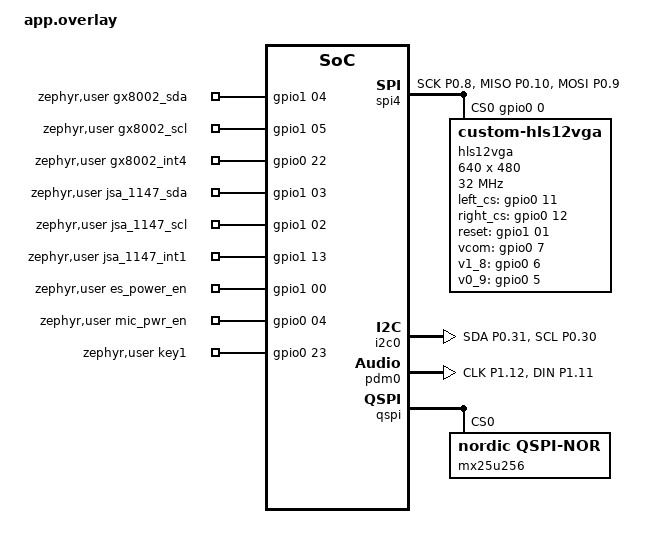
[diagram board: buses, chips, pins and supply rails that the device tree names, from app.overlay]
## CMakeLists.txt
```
#
# Copyright (c) 2018 Nordic Semiconductor
#
# SPDX-License-Identifier: LicenseRef-Nordic-5-Clause
#
cmake_minimum_required(VERSION 3.20.0)

list(APPEND EXTRA_ZEPHYR_MODULES
  ${CMAKE_CURRENT_SOURCE_DIR}/../custom_driver_module)

find_package(Zephyr REQUIRED HINTS $ENV{ZEPHYR_BASE})
project(k901_nrf5340)


# set(SHIELD npm1300_ek)
set(LVGL_DIR ${ZEPHYR_LVGL_MODULE_DIR})
FILE(GLOB app_sources src/*.c)
target_include_directories(app PRIVATE ${CMAKE_CURRENT_SOURCE_DIR}/src/.)

target_include_directories(app PRIVATE ${LVGL_DIR}/demos/)

list(APPEND CMAKE_MODULE_PATH ${ZEPHYR_BASE}/modules/nanopb)
include(nanopb)

# zephyr_library()
# zephyr_include_directories(${CMAKE_CURRENT_BINARY_DIR})
# zephyr_nanopb_sources(${ZEPHYR_CURRENT_LIBRARY} mentraos_ble.proto)
zephyr_nanopb_sources(app ${CMAKE_CURRENT_SOURCE_DIR}/mentraos_ble.proto)

# NORDIC SDK APP START
target_sources(app PRIVATE src/main.c)
add_subdirectory(src/BspLog)
add_subdirectory(src/xyzn_driver/bsp)
add_subdirectory(src/xyzn_driver/bspal)
add_subdirectory(src/xyzn_app)
add_subdirectory(src/xyzn_app/protocol_ble)
add_subdirectory(src/xyzn_components/xyzn_ble)
add_subdirectory(src/xyzn_components/xyzn_util)
add_subdirectory(src/xyzn_components/xyzn_sysport)
add_subdirectory(src/xyzn_components/xyzn_lvgl_display)
add_subdirectory(src/xyzn_components/xyzn_battery)
add_subdirectory(src/xyzn_components/xyzn_pdm)
# add_subdirectory(src/xyzn_components/xyzn_proto)

target_sources_ifdef(CONFIG_LV_USE_DEMO_BENCHMARK app PRIVATE
    ${LVGL_DIR}/demos/benchmark/assets/img_benchmark_avatar.c
    ${LVGL_DIR}/demos/benchmark/assets/img_benchmark_lvgl_logo_argb.c
    ${LVGL_DIR}/demos/benchmark/assets/img_benchmark_lvgl_logo_rgb.c
    ${LVGL_DIR}/demos/benchmark/assets/lv_font_benchmark_montserrat_12_compr_az.c.c
    ${LVGL_DIR}/demos/benchmark/assets/lv_font_benchmark_montserrat_16_compr_az.c.c
    ${LVGL_DIR}/demos/benchmark/assets/lv_font_benchmark_montserrat_28_compr_az.c.c
    ${LVGL_DIR}/demos/benchmark/lv_demo_benchmark.c
)

target_sources_ifdef(CONFIG_LV_USE_DEMO_WIDGETS app PRIVATE
    ${LVGL_DIR}/demos/widgets/assets/img_clothes.c
    ${LVGL_DIR}/demos/widgets/assets/img_demo_widgets_avatar.c
    ${LVGL_DIR}/demos/widgets/assets/img_demo_widgets_needle.c
    ${LVGL_DIR}/demos/widgets/assets/img_lvgl_logo.c
    ${LVGL_DIR}/demos/widgets/lv_demo_widgets.c
)

zephyr_library_include_directories(.)

# NORDIC SDK APP END
```

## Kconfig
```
#
# Copyright (c) 2018 Nordic Semiconductor
#
# SPDX-License-Identifier: LicenseRef-Nordic-5-Clause
#

source "Kconfig.zephyr"

menu "Nordic UART BLE GATT service sample"

config BT_NUS_THREAD_STACK_SIZE
	int "Thread stack size"
	default 1024
	help
	  Stack size used in each of the two threads

config BT_NUS_UART_BUFFER_SIZE
	int "UART payload buffer element size"
	default 40
	help
	  Size of the payload buffer in each RX and TX FIFO element

config BT_NUS_SECURITY_ENABLED
	bool "Enable security"
	default y
	select BT_SMP
	help
	  "Enable BLE security for the UART service"

config BT_NUS_UART_RX_WAIT_TIME
	int "Timeout for UART RX complete event"
	default 50000
	help
	  Wait for RX complete event time in microseconds

config SETTINGS
	default y

config ZMS
	default y if (SOC_FLASH_NRF_RRAM || SOC_FLASH_NRF_MRAM)

config NVS
	default y if !(SOC_FLASH_NRF_RRAM || SOC_FLASH_NRF_MRAM)


config LV_Z_DEMO_BENCHMARK
	bool "LVGL benchmark demo"
	select LV_USE_DEMO_BENCHMARK
	select LV_USE_DEMO_WIDGETS
	help
	  Build benchmarking demo application.

endmenu
```

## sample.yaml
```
sample:
  description: Bluetooth Low Energy UART service sample
  name: Bluetooth LE UART service
tests:
  sample.bluetooth.peripheral_uart:
    sysbuild: true
    build_only: true
    platform_allow:
      - nrf52dk/nrf52832
      - nrf52833dk/nrf52833
      - nrf52840dk/nrf52840
      - nrf5340dk/nrf5340/cpuapp
      - nrf5340dk/nrf5340/cpuapp/ns
      - thingy53/nrf5340/cpuapp
      - thingy53/nrf5340/cpuapp/ns
      - nrf21540dk/nrf52840
      - nrf54l15dk/nrf54l05/cpuapp
      - nrf54l15dk/nrf54l10/cpuapp
      - nrf54l15dk/nrf54l15/cpuapp
      - nrf54h20dk/nrf54h20/cpuapp
      - nrf54h20dk/nrf54h20/cpurad
    integration_platforms:
      - nrf52dk/nrf52832
      - nrf52833dk/nrf52833
      - nrf52840dk/nrf52840
      - nrf5340dk/nrf5340/cpuapp
      - nrf5340dk/nrf5340/cpuapp/ns
      - thingy53/nrf5340/cpuapp
      - thingy53/nrf5340/cpuapp/ns
      - nrf21540dk/nrf52840
      - nrf54l15dk/nrf54l05/cpuapp
      - nrf54l15dk/nrf54l10/cpuapp
      - nrf54l15dk/nrf54l15/cpuapp
      - nrf54h20dk/nrf54h20/cpuapp
      - nrf54h20dk/nrf54h20/cpurad
    tags:
      - bluetooth
      - ci_build
      - sysbuild
  sample.bluetooth.peripheral_uart_cdc:
    sysbuild: true
    build_only: true
    extra_args:
      - OVERLAY_CONFIG=prj_cdc.conf
      - DTC_OVERLAY_FILE="usb.overlay"
    integration_platforms:
      - nrf52840dk/nrf52840
      - nrf52833dk/nrf52833
    platform_allow:
      - nrf52840dk/nrf52840
      - nrf52833dk/nrf52833
    tags:
      - bluetooth
      - ci_build
      - sysbuild
  sample.bluetooth.peripheral_uart_minimal:
    sysbuild: true
    build_only: true
    extra_args: FILE_SUFFIX=minimal
    integration_platforms:
      - nrf52833dk/nrf52820
    platform_allow:
      - nrf52833dk/nrf52820
    tags:
      - bluetooth
      - ci_build
      - sysbuild
  sample.bluetooth.peripheral_uart_ble_rpc:
    sysbuild: true
    build_only: true
    extra_args:
      - SNIPPET=nordic-bt-rpc
      - FILE_SUFFIX=bt_rpc
    integration_platforms:
      - nrf5340dk/nrf5340/cpuapp
      - nrf54h20dk/nrf54h20/cpuapp
    platform_allow:
      - nrf5340dk/nrf5340/cpuapp
      - nrf54h20dk/nrf54h20/cpuapp
    tags:
      - bluetooth
      - ci_build
      - sysbuild
  sample.bluetooth.peripheral_uart.security_disabled:
    sysbuild: true
    build_only: true
    platform_allow:
      - nrf52dk/nrf52832
      - nrf52833dk/nrf52833
      - nrf52840dk/nrf52840
      - nrf5340dk/nrf5340/cpuapp
      - nrf5340dk/nrf5340/cpuapp/ns
      - thingy53/nrf5340/cpuapp
      - thingy53/nrf5340/cpuapp/ns
      - nrf21540dk/nrf52840
    integration_platforms:
      - nrf52840dk/nrf52840
    tags:
      - bluetooth
      - ci_build
      - sysbuild
    extra_configs:
      - CONFIG_BT_NUS_SECURITY_ENABLED=n
```

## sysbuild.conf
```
SB_CONFIG_BOOTLOADER_MCUBOOT=y

SB_CONFIG_MCUBOOT_USE_ALL_AVAILABLE_RAM=y

# Configure project to use external flash for DFU
SB_CONFIG_PM_EXTERNAL_FLASH_MCUBOOT_SECONDARY=y


# Set up multiple partitions
# SB_CONFIG_MCUBOOT_UPDATEABLE_IMAGES=2
SB_CONFIG_MCUBOOT_UPDATEABLE_IMAGES=1
# Add b0n image
# SB_CONFIG_SECURE_BOOT_NETCORE=y

# Add support to netcore for DFU
# SB_CONFIG_NETCORE_APP_UPDATE=y

# Add support to mcuboot for updating
# two cores simultaneously
# SB_CONFIG_MCUBOOT_NRF53_MULTI_IMAGE_UPDATE=y


# Simultaneous FOTA does not support rollback
SB_CONFIG_MCUBOOT_MODE_OVERWRITE_ONLY=y

SB_CONFIG_BOOT_SIGNATURE_TYPE_RSA=y

SB_CONFIG_BOOT_SIGNATURE_KEY_FILE="${APP_DIR}/sysbuild/private.pem"
# SB_CONFIG_SECURE_BOOT_SIGNING_KEY_FILE="/sysbuild/mcuboot/private.pem"
```

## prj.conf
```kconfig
# Enable the UART driver
CONFIG_UART_ASYNC_API=n
CONFIG_NRFX_UARTE0=n
CONFIG_SERIAL=n # 开启/关闭串口


# 设置log延时模式
CONFIG_LOG_MODE_DEFERRED=y
#设置log同步模式
CONFIG_LOG_MODE_IMMEDIATE=n
#设置log最小模式
CONFIG_LOG_MODE_MINIMAL=n
#允许丢弃旧的消息
CONFIG_LOG_MODE_OVERFLOW=n
#设置log缓存大小
CONFIG_LOG_BUFFER_SIZE=1024
# # 设置log打印级别
# CONFIG_LOG_DEFAULT_LEVEL=4
# #设置INFO级别log颜色为绿色
# CONFIG_LOG_INFO_COLOR_GREEN=y
# # #设置log打印错误为红色警告为黄色
# CONFIG_LOG_BACKEND_SHOW_COLOR=y
# 开启log打印模块
CONFIG_CONSOLE=y

# Config logger
CONFIG_LOG=y
# 开启rtt log打印
CONFIG_USE_SEGGER_RTT=y 
# 开启rtt log打印缓冲
CONFIG_LOG_BACKEND_RTT=y 
CONFIG_LOG_BACKEND_UART=n
# 开启log打印模块，接管printk打印
CONFIG_LOG_PRINTK=y         
CONFIG_ASSERT=y
 # 开启/ 关闭log rtt打印模块
CONFIG_RTT_CONSOLE=y   
# 开启/关闭log串口打印模块
CONFIG_UART_CONSOLE=n   

CONFIG_LOG_MODE_IMMEDIATE=y 
# 配置rtt打印缓存大小
CONFIG_SEGGER_RTT_BUFFER_SIZE_UP=4096
# 浮点打印开关，占用code 1K左右
CONFIG_CBPRINTF_FP_SUPPORT=y

# 堆内存池大小（字节）
CONFIG_HEAP_MEM_POOL_SIZE=40960

# CONFIG_BT_GATT_DYNAMIC_DB=y
CONFIG_BT=y
CONFIG_BT_DEVICE_APPEARANCE=448
CONFIG_BT_PERIPHERAL=y
# CONFIG_BT_DEVICE_NAME="Nordic_UART_Service_test"
CONFIG_BT_DEVICE_NAME_DYNAMIC=y
CONFIG_BT_MAX_CONN=1
CONFIG_BT_MAX_PAIRED=1
#设置 Bluetooth LE 接收线程的栈空间
CONFIG_BT_RX_STACK_SIZE=2048
#设置 Bluetooth LE 发送线程的栈空间
CONFIG_BT_HCI_TX_STACK_SIZE=1024
#多协议服务层（MPSL）相关线程的栈空间
CONFIG_MPSL_WORK_STACK_SIZE=1024

CONFIG_BT_L2CAP_TX_MTU=517
CONFIG_BT_BUF_ACL_TX_SIZE=521
CONFIG_BT_BUF_ACL_RX_SIZE=521
CONFIG_BT_BUF_ACL_TX_COUNT=7
# CONFIG_BT_CTLR_DATA_LENGTH_MAX=251

# Enable the NUS service
# CONFIG_BT_NUS=y
CONFIG_BT_USER_PHY_UPDATE=y
CONFIG_BT_USER_DATA_LEN_UPDATE=y

CONFIG_NRF_SECURITY=y
CONFIG_MBEDTLS_PSA_CRYPTO_C=y
CONFIG_PSA_WANT_ALG_CMAC=y
CONFIG_PSA_WANT_KEY_TYPE_AES=y
CONFIG_PSA_WANT_AES_KEY_SIZE_128=y
CONFIG_PSA_WANT_ALG_ECDSA=y
CONFIG_PSA_WANT_KEY_TYPE_ECC_KEY_PAIR_IMPORT=y
# Enable bonding
# CONFIG_BT_SETTINGS=y
CONFIG_FLASH=y
CONFIG_FLASH_PAGE_LAYOUT=y
CONFIG_FLASH_MAP=y
CONFIG_SETTINGS=n

CONFIG_SYSTEM_WORKQUEUE_STACK_SIZE=2048
# CONFIG_ISR_STACK_SIZE=4096
CONFIG_SPI=y

CONFIG_GPIO=y
# CONFIG_SOC_NRF53_CPUNET_ENABLE=y

CONFIG_MAIN_STACK_SIZE=4096
#配置main主任务优先级，空闲任务优先级为默认15，可抢占任务优先级为0~15（可配置宏：CONFIG_NUM_PREEMPT_PRIORITIES）
CONFIG_MAIN_THREAD_PRIORITY=14


CONFIG_LVGL=y
# # CONFIG_LV_Z_MEM_POOL_SIZE=49152
CONFIG_LV_Z_MEM_POOL_SIZE=102400
# CONFIG_LV_Z_SHELL=y
CONFIG_LV_USE_MONKEY=y
CONFIG_LV_COLOR_DEPTH_1=y

CONFIG_INPUT=y

CONFIG_LV_FONT_MONTSERRAT_12=y
CONFIG_LV_FONT_MONTSERRAT_14=y
CONFIG_LV_FONT_MONTSERRAT_16=y
CONFIG_LV_FONT_MONTSERRAT_18=y
CONFIG_LV_FONT_MONTSERRAT_24=y
CONFIG_LV_FONT_MONTSERRAT_30=y
CONFIG_LV_FONT_MONTSERRAT_48=y

CONFIG_LV_USE_FONT_COMPRESSED=y
CONFIG_DISPLAY_LOG_LEVEL_ERR=y
CONFIG_LV_USE_LOG=y
# CONFIG_LV_Z_LOG_LEVEL=2
CONFIG_LV_Z_DEMO_BENCHMARK=y
# CONFIG_LV_Z_AUTO_INIT=n
CONFIG_LV_Z_DOUBLE_VDB=y
#修改了这里的值，注意驱动层的缓冲buff长度 ，不要超过20%
CONFIG_LV_Z_VDB_SIZE=10
CONFIG_LV_Z_VDB_CUSTOM_SECTION=n

# CONFIG_LV_USE_SYSMON=y
# CONFIG_LV_USE_PERF_MONITOR=y

CONFIG_DISPLAY=y
CONFIG_CUSTOM_HLS12VGA=y

# CONFIG_STACK_CANARIES=y
# CONFIG_STACK_USAGE=y

# Enable FOTA over Bluetooth LE
CONFIG_NCS_SAMPLE_MCUMGR_BT_OTA_DFU=y


CONFIG_MCUMGR_GRP_ZBASIC=y
CONFIG_MCUMGR_GRP_ZBASIC_STORAGE_ERASE=y
# CONFIG_PM_OVERRIDE_EXTERNAL_DRIVER_CHECK=y


CONFIG_CJSON_LIB=y
CONFIG_NEWLIB_LIBC=y
CONFIG_NEWLIB_LIBC_FLOAT_PRINTF=y
CONFIG_NEWLIB_LIBC_NANO=n



CONFIG_RING_BUFFER=y

CONFIG_FILE_SYSTEM=y
CONFIG_FILE_SYSTEM_LITTLEFS=y
# CONFIG_FS_LOG_LEVEL=3
#LittleFS 的缓存大小（字节）
CONFIG_FS_LITTLEFS_CACHE_SIZE=1024
#LittleFS 块的擦写周期上限，用于磨损均衡
CONFIG_FS_LITTLEFS_BLOCK_CYCLES=512
#LittleFS 读操作的最小单位（字节）
CONFIG_FS_LITTLEFS_READ_SIZE=32
#LittleFS 写操作的最小单位（字节）
CONFIG_FS_LITTLEFS_PROG_SIZE=32
#LittleFS 查找窗口的大小（字节），用于查找文件时，在文件系统上查找的窗口大小
CONFIG_FS_LITTLEFS_LOOKAHEAD_SIZE=64


# 在系统配置中包括当前/电压调节器的驱动程序
CONFIG_REGULATOR=y
CONFIG_SENSOR=y
CONFIG_I2C=y
CONFIG_LED=y
CONFIG_NRF_FUEL_GAUGE=y
CONFIG_NRF_FUEL_GAUGE_VARIANT_SECONDARY_CELL=y
CONFIG_TFM_SECURE_UART=n
CONFIG_TFM_LOG_LEVEL_SILENCE=y

CONFIG_PM_DEVICE=y
CONFIG_NRFX_TWIM0=y
## thread monitor ##
CONFIG_THREAD_ANALYZER=y
CONFIG_THREAD_NAME=y




######test load##############
# CONFIG_ZTEST=y
CONFIG_CPU_LOAD=y
CONFIG_NRFX_TIMER1=y
CONFIG_CPU_LOAD_USE_SHARED_DPPI_CHANNELS=y


#watchdog
CONFIG_WDT_LOG_LEVEL_DBG=n
CONFIG_WATCHDOG=y
CONFIG_WDT_DISABLE_AT_BOOT=n

CONFIG_CMSIS_DSP=y
CONFIG_SW_CODEC_LC3_T2_SOFTWARE=y
CONFIG_LC3_ENC_CHAN_MAX=2
CONFIG_LC3_DEC_CHAN_MAX=2

CONFIG_FPU=y
CONFIG_NRFX_PDM0=y
CONFIG_AUDIO=y
CONFIG_AUDIO_DMIC=y
CONFIG_AUDIO_DMIC_NRFX_PDM=y


CONFIG_NANOPB=y
```

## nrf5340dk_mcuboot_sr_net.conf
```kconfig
#
# Copyright (c) 2022 Nordic Semiconductor
#
# SPDX-License-Identifier: LicenseRef-Nordic-5-Clause
#

CONFIG_MAIN_STACK_SIZE=10240
# Flash
CONFIG_FLASH=y

# MCUBoot serial
CONFIG_MCUBOOT_SERIAL=y
CONFIG_MCUBOOT_SERIAL_DIRECT_IMAGE_UPLOAD=y

# Decrease memory footprint
CONFIG_CBPRINTF_NANO=y
CONFIG_TIMESLICING=n
CONFIG_BOOT_BANNER=n
CONFIG_CONSOLE=n
CONFIG_CONSOLE_HANDLER=n
CONFIG_UART_CONSOLE=n
CONFIG_RTT_CONSOLE=n
CONFIG_USE_SEGGER_RTT=n
CONFIG_LOG=n
CONFIG_RESET_ON_FATAL_ERROR=n

# The following configurations are required to support serial recovery of the
# network image
CONFIG_PCD_APP=y

CONFIG_FLASH_SIMULATOR=y
CONFIG_FLASH_SIMULATOR_DOUBLE_WRITES=y
CONFIG_FLASH_SIMULATOR_STATS=n

CONFIG_BOOT_IMAGE_ACCESS_HOOKS=y
CONFIG_NRF53_RECOVERY_NETWORK_CORE=y

CONFIG_MCUBOOT_INDICATION_LED=y
```

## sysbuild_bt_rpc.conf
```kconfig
#
# Copyright (c) 2024 Nordic Semiconductor
#
# SPDX-License-Identifier: LicenseRef-Nordic-5-Clause
#

SB_CONFIG_NETCORE_IPC_RADIO_BT_RPC=y
SB_CONFIG_NETCORE_IPC_RADIO_BT_HCI_IPC=n
```

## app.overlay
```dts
//   @Author: XK
//   @Date: 2025-07-02 09: 48: 47
//   @LastEditTime: 2025-07-15 17: 49: 51
//   @FilePath: app.overlay
//   @Description:

//   Copyright (c) XingYiZhiNeng 2025 , All Rights Reserved.


/ {
	chosen {
		zephyr,display = &hls12vga;
		nordic,pm-ext-flash = &mx25u256;
		// nordic,pm-ext-flash = &mx25r64;
	};
	zephyr,user {
		// ict_15318_sda-gpios = <&gpio1 14 GPIO_ACTIVE_HIGH>;
		// ict_15318_scl-gpios = <&gpio1 15 GPIO_ACTIVE_HIGH>;

		gx8002_sda-gpios = <&gpio1 04 GPIO_ACTIVE_HIGH>;
		gx8002_scl-gpios = <&gpio1 05 GPIO_ACTIVE_HIGH>;
		gx8002_int4-gpios = <&gpio0 22 GPIO_ACTIVE_HIGH>;

		jsa_1147_sda-gpios = <&gpio1 03 GPIO_ACTIVE_HIGH>;
		jsa_1147_scl-gpios = <&gpio1 02 GPIO_ACTIVE_HIGH>;
		jsa_1147_int1-gpios = <&gpio1 13 GPIO_ACTIVE_HIGH>;

		es_power_en-gpios = <&gpio1 00 GPIO_ACTIVE_HIGH>;
		mic_pwr_en-gpios = <&gpio0 04 GPIO_ACTIVE_HIGH>;

		key1-gpios = <&gpio0 23 GPIO_ACTIVE_HIGH>;

	};
	/delete-node/ aliases;
	aliases {
		myimu6 = &i2c0;
		myimu3 = &i2c2;
		// myvda = &i2c3;

		watchdog0 = &wdt0;
	};

};


&pinctrl {
	spi4_default: spi4_default {
		group1 {
			psels = <NRF_PSEL(SPIM_SCK, 0, 8)>,
			        <NRF_PSEL(SPIM_MISO, 0, 10)>,
			        <NRF_PSEL(SPIM_MOSI, 0, 9)>;
			nordic,drive-mode = <NRF_DRIVE_E0E1>;
		};
	};
	spi4_sleep: spi4_sleep {
		group1 {
			psels = <NRF_PSEL(SPIM_SCK, 0, 8)>,
			        <NRF_PSEL(SPIM_MISO, 0, 10)>,
			        <NRF_PSEL(SPIM_MOSI, 0, 9)>;
			low-power-enable;
		};
	};
	i2c0_default: i2c0_default {
		group1 {
			psels = <NRF_PSEL(TWIM_SDA, 0, 31)>,
					<NRF_PSEL(TWIM_SCL, 0, 30)>;
			bias-pull-up;
			nordic,drive-mode = <NRF_DRIVE_S0D1>;
		};
	};
	i2c0_sleep: i2c0_sleep {
		group1 {
			psels = <NRF_PSEL(TWIM_SDA, 0, 31)>,
					<NRF_PSEL(TWIM_SCL, 0, 30)>;
			low-power-enable;
		};
	};
	i2c2_default: i2c2_default {
		group1 {
			psels = <NRF_PSEL(TWIM_SDA, 1, 15)>,
					<NRF_PSEL(TWIM_SCL, 1, 14)>;
			bias-pull-up;
			nordic,drive-mode = <NRF_DRIVE_S0D1>;
		};
	};
	i2c2_sleep: i2c2_sleep {
		group1 {
			psels = <NRF_PSEL(TWIM_SDA, 1, 15)>,
					<NRF_PSEL(TWIM_SCL, 1, 14)>;
			low-power-enable;
		};
	};
	i2c3_default: i2c3_default {
		group1 {

			psels = <NRF_PSEL(TWIM_SDA, 1, 04)>,
					<NRF_PSEL(TWIM_SCL, 1, 05)>;
			bias-pull-up;
			nordic,drive-mode = <NRF_DRIVE_S0D1>;
		};
	};
	i2c3_sleep: i2c3_sleep {
		group1 {
			psels = <NRF_PSEL(TWIM_SDA, 1, 04)>,
					<NRF_PSEL(TWIM_SCL, 1, 05)>;
			low-power-enable;
		};
	};

	pdm0_default_alt: pdm0_default_alt {
	group1 {
		psels = <NRF_PSEL(PDM_CLK, 1, 12)>,
				<NRF_PSEL(PDM_DIN, 1, 11)>;

	};
	};
};
&spi4 {
	compatible = "nordic,nrf-spim";
	status = "okay";
	cs-gpios = <&gpio0 0 GPIO_ACTIVE_HIGH>;
	pinctrl-0 = <&spi4_default>;
	pinctrl-1 = <&spi4_sleep>;
	pinctrl-names = "default", "sleep";
	hls12vga: hls12vga@0 {
		compatible = "zephyr,custom-hls12vga";
		status = "okay";
		reg = <0>;
		spi-max-frequency = <32000000>;
		left_cs-gpios = <&gpio0 11 GPIO_ACTIVE_HIGH>;
		right_cs-gpios = <&gpio0 12 GPIO_ACTIVE_HIGH>;
		reset-gpios = <&gpio1 01 GPIO_ACTIVE_HIGH>;
		vcom-gpios = <&gpio0 7 GPIO_ACTIVE_HIGH>;
		v1_8-gpios = <&gpio0 6 GPIO_ACTIVE_HIGH>;
		v0_9-gpios = <&gpio0 5 GPIO_ACTIVE_HIGH>;

		width = <640>;           // 屏幕宽度 (像素)
		// height = <240>;          // 屏幕高度 (像素)
		height = <480>;          // 屏幕高度 (像素)
	};
};
&i2c0 {
	status = "okay";
	compatible = "nordic,nrf-twim";
	pinctrl-0 = <&i2c0_default>;
	pinctrl-1 = <&i2c0_sleep>;
	pinctrl-names = "default", "sleep";
};
&i2c2 {
	status = "disabled";
	compatible = "nordic,nrf-twim";
	pinctrl-0 = <&i2c2_default>;
	pinctrl-1 = <&i2c2_sleep>;
	pinctrl-names = "default", "sleep";
};
&i2c3 {
	status = "disabled";
	compatible = "nordic,nrf-twim";
	pinctrl-0 = <&i2c3_default>;
	pinctrl-1 = <&i2c3_sleep>;
	pinctrl-names = "default", "sleep";
};

dmic_dev: &pdm0 {
    status = "okay";
	compatible = "nordic,nrf-pdm";

	pinctrl-0 = <&pdm0_default_alt>;
	pinctrl-names = "default";
	// clock-source = "ACLK";
};
&gpio1 {
	sense-edge-mask = <0xffffffff>;
};
&gpio0 {
	sense-edge-mask = <0xffffffff>;
};
&nfct {
	status = "disabled";
};
&gpio_fwd {
	// status = "disabled";// 将管脚控制权保留在应用核
	/delete-node/ uart;// 将管脚控制权保留在应用核
};

&pwm0 {
	status = "disabled";
};
&ieee802154 {
	status = "disabled";
};
&uart0 {
	status = "disabled";
};

/delete-node/ &button0;
/delete-node/ &button1;
/delete-node/ &button2;
/delete-node/ &button3;
// /delete-node/ &buttons;
/delete-node/ &led0;
/delete-node/ &led1;
/delete-node/ &led2;
/delete-node/ &led3;
// /delete-node/ &leds;

// &qspi {
// 		status = "okay";
// 		pinctrl-0 = <&qspi_default>;
// 		pinctrl-1 = <&qspi_sleep>;
// 		pinctrl-names = "default", "sleep";
// 		mx25r64: mx25r6435f@0 {
// 					compatible = "nordic,qspi-nor";
// 					reg = <0>;
// 					/* MX25R64 supports only pp and pp4io */
// 					writeoc = "pp4io";
// 					/* MX25R64 supports all readoc options */
// 					readoc = "read4io";
// 					sck-frequency = <32000000>;
// 					jedec-id = [ c2 28 17  ];
// 					sfdp-bfp = [
// 						e5 20 f1 ff  ff ff ff 03  44 eb 08 6b  08 3b 04 bb
// 						ee ff ff ff  ff ff 00 ff  ff ff 00 ff  0c 20 0f 52
// 						10 d8 00 ff  23 72 f5 00  82 ed 04 cc  44 83 68 44
// 						30 b0 30 b0  f7 c4 d5 5c  00 be 29 ff  f0 d0 ff ff
// 					];
// 					size = <67108864>;
// 					has-dpd;
// 					t-enter-dpd = <10000>;
// 					t-exit-dpd = <35000>;
// 		};
// };

/delete-node/ &mx25r64;
&qspi {
	status = "okay";
	pinctrl-0 = <&qspi_default>;
	pinctrl-1 = <&qspi_sleep>;
	pinctrl-names = "default", "sleep";
	mx25u256: mx25u256@0 {
		compatible = "nordic,qspi-nor";
		reg = <0>;
		/* MX25U256 supports only pp and pp4io */
		writeoc = "pp4io";
		/* MX25U256 supports all readoc options */
		readoc = "read4io";
		sck-frequency = <32000000>;//最高 48Mhz
		address-size-32;
		enter-4byte-addr = <0xb7>;
		jedec-id = [ c2 25 39  ];
		sfdp-bfp = [ 
			e5 20 fb ff ff ff ff 0f 44 eb 08 6b 08 3b 04 bb 
			fe ff ff ff ff ff 00 ff ff ff 44 eb 0c 20 0f 52 
			10 d8 00 ff 25 52 dd 00 84 a5 04 e2 44 03 17 38 
			30 b0 30 b0 f7 bd d5 5c 4a 9e 29 ff f0 50 f9 85 ];
		size = <0x2000000>;// 32M
		has-dpd;
		t-enter-dpd = <10000>;
		t-exit-dpd = <35000>;
	};
};
```

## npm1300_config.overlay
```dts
/*
 * Copyright (C) 2023 Nordic Semiconductor ASA
 * SPDX-License-Identifier: Apache-2.0
 */

#include <dt-bindings/regulator/npm1300.h>
#include <zephyr/dt-bindings/input/input-event-codes.h>

&pinctrl {
    arduino_i2c_default: arduino_i2c_default {
        group1 {
            psels = <NRF_PSEL(TWIM_SCL, 0, 29)>,
                    <NRF_PSEL(TWIM_SDA, 1, 10)>;
            bias-pull-up;
        };
    };
    arduino_i2c_sleep: arduino_i2c_sleep {
        group1 {
            psels = <NRF_PSEL(TWIM_SCL, 0, 29)>,
                    <NRF_PSEL(TWIM_SDA, 1, 10)>;
            low-power-enable;
        };
    };
};

&arduino_i2c {
    status = "okay";
    pinctrl-0 = <&arduino_i2c_default>;
    pinctrl-1 = <&arduino_i2c_sleep>;
    pinctrl-names = "default", "sleep";
    clock-frequency = <I2C_BITRATE_STANDARD>;

    npm1300_ek_pmic: pmic@6b {
        compatible = "nordic,npm1300";
        reg = <0x6b>;
        // ship-to-active-time = <96>;
        // long-press-reset = "one_button";
        npm1300_ek_gpio: gpio-controller {
            compatible = "nordic,npm1300-gpio";
            gpio-controller;
            #gpio-cells = <2>;
            ngpios = <5>;
            // phandle = <6>;
        };
        npm1300_ek_regulators: regulators {
            compatible = "nordic,npm1300-regulator";

            npm1300_ek_buck1: BUCK1 {
                regulator-min-microvolt = <1000000>;
                regulator-max-microvolt = <3300000>;
                retention-microvolt = <1200000>;
            };
            npm1300_ek_buck2: BUCK2 {
                regulator-min-microvolt = <1000000>;
                regulator-max-microvolt = <3300000>;
                retention-microvolt = <1800000>;
            };

            npm1300_ek_ldo1: LDO1 {
                regulator-min-microvolt = <1000000>;
                regulator-max-microvolt = <3300000>;
                regulator-initial-mode = <NPM1300_LDSW_MODE_LDSW>;
                regulator-boot-on;
            };
            npm1300_ek_ldo2: LDO2 {
                regulator-min-microvolt = <1000000>;
                regulator-max-microvolt = <3300000>;
                regulator-initial-mode = <NPM1300_LDSW_MODE_LDSW>;
                regulator-boot-on;
            };

        };

        npm1300_ek_charger: charger {
            compatible = "nordic,npm1300-charger";
            term-microvolt = <4250000>;
            term-warm-microvolt = <3600000>;// 充电终止电压
            // term-current-percent = <10>;
            current-microamp = <800000>;// 限制充电电流(uA)
            // current-microamp = <150000>;// 限制充电电流(uA)
            // trickle-microvolt = <2900000>;
            dischg-limit-microamp = <200000>; // 限制放电电流(uA)
            // dischg-limit-microamp = <1000000>; // 限制放电电流(uA)
            vbus-limit-microamp = <500000>;
            thermistor-ohms = <10000>;
            thermistor-beta = <3380>;

            charging-enable;
            vbatlow-charge-enable;
        };


        npm1300_ek_leds: leds {
            compatible = "nordic,npm1300-led";
            nordic,led0-mode = "error";
            nordic,led1-mode = "charging";
            nordic,led2-mode = "host";
        };

    };
};
```

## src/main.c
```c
/*
 * @Author       : Cole
 * @Date         : 2025-07-25 11:26:39
 * @LastEditTime : 2025-07-30 16:45:53
 * @FilePath     : main.c
 * @Description  : 
 * 
 * Copyright (c) 2025 MentraOS Organization. All rights reserved.
 */


#include <uart_async_adapter.h>

#include <zephyr/types.h>
#include <zephyr/kernel.h>
#include <zephyr/drivers/uart.h>
#include <zephyr/usb/usb_device.h>

#include <zephyr/device.h>
#include <zephyr/devicetree.h>
#include <soc.h>

#include <zephyr/bluetooth/bluetooth.h>
#include <zephyr/bluetooth/gap.h>
#include <zephyr/bluetooth/uuid.h>
#include <zephyr/bluetooth/gatt.h>
#include <zephyr/bluetooth/hci.h>

// #include <bluetooth/services/nus.h>
#include <zephyr/settings/settings.h>

#include <stdio.h>
#include <string.h>
#include <zephyr/logging/log.h>
/******************************************* */
#include "nrfx_clock.h"
#include "bsp_log.h"
#include "xyzn_config.h"
#include "main.h"
#include "task_ble_receive.h"
#include "xyzn_ble_service.h"
#include "bsp_board_mcu.h"
#include "protocol_ble_send.h"
#include "protocol_ble_process.h"
#include "protocol_image_cache.h"
#include "xyzn_lvgl_display.h"
#include "task_process.h"
#include "task_interrupt.h"
#include "bspal_watchdog.h"
#include "task_lc3_codec.h"
#define TAG "MAIN"

static struct bt_conn *my_current_conn;

static uint16_t payload_mtu = 20;  // 默认MTU长度
static bool ble_connected = false; // 默认未连接
#define BLE_NAME_MAX_LEN 20
static uint8_t device_name[BLE_NAME_MAX_LEN] = "1234567890";

#define BT_GAP_PER_ADV_MS_TO_INTERVAL(ms) ((ms) * 1000 / 625)

static struct bt_le_adv_param g_adv_param;

#define BLE_AD_IDX_FLAGS 0
#define BLE_AD_IDX_NAME 1
#define BLE_AD_IDX_XY_TEST 2
static uint8_t xyzn_test_ad_data[11] = {0x4B, 0X39, 0X30, 0X30, 0X30, 0X30, 0X30, 0X30, 0X30, 0X30, 0X30};
static uint8_t xyzn_test_sd_data[11] = {0x22, 0XB8, 0X00, 0X08, 0XFF, 0X01, 0X30, 0X30, 0X30, 0X30, 0X30};
/******************************************* */

#define LOG_MODULE_NAME main
LOG_MODULE_REGISTER(LOG_MODULE_NAME);

static K_SEM_DEFINE(ble_init_ok, 0, 1);

static struct bt_conn *auth_conn;
static struct k_work adv_work;

static struct bt_data ad[] = {
	[BLE_AD_IDX_FLAGS] = BT_DATA_BYTES(BT_DATA_FLAGS, (BT_LE_AD_GENERAL | BT_LE_AD_NO_BREDR)),
	[BLE_AD_IDX_NAME] = BT_DATA(BT_DATA_NAME_COMPLETE, device_name, (sizeof(device_name) - 1)),
	// [BLE_AD_IDX_XY_TEST] = BT_DATA(BT_DATA_GAP_APPEARANCE, xyzn_test_ad_data, (sizeof(xyzn_test_ad_data) - 1)), // test
};

static const struct bt_data sd[] = {
	// BT_DATA_BYTES(BT_DATA_UUID128_ALL, BT_UUID_MY_SERVICE_VAL),
	BT_DATA(BT_DATA_MANUFACTURER_DATA, xyzn_test_sd_data, (sizeof(xyzn_test_sd_data) - 1)), // test
};

#ifdef CONFIG_UART_ASYNC_ADAPTER
UART_ASYNC_ADAPTER_INST_DEFINE(async_adapter);
#else
#define async_adapter NULL
#endif
void ble_init_sem_give(void)
{
	k_sem_give(&ble_init_ok); // 通知蓝牙初始化完成
}
/**
 * @description: 等待蓝牙初始化完成
 * @return int 0:成功，其他:失败
 */
int ble_init_sem_take(void)
{
	return k_sem_take(&ble_init_ok, K_FOREVER);
}
void adv_set_ble_name(const uint8_t *data, uint8_t data_len)
{
	if (data_len < sizeof(device_name))
	{
		memset(device_name, 0, sizeof(device_name));
		memcpy(device_name, data, data_len);

		ad[BLE_AD_IDX_NAME].data = device_name;
		ad[BLE_AD_IDX_NAME].data_len = data_len;
		BSP_LOGI(TAG, "Set BLE name to[%d]: %s", data_len, device_name);
	}
	else
	{
		BSP_LOGW(TAG, "Name too long to set in adv");
	}
}
void ble_name_update_data(const char *name)
{
	if (name == NULL || strlen(name) > BLE_NAME_MAX_LEN)
	{
		BSP_LOGE(TAG, "Invalid name provided ERR");
		return;
	}
	char ble_name[BLE_NAME_MAX_LEN + 1];
	memset(ble_name, 0, sizeof(ble_name));
	strncpy(ble_name, name, strlen(name));

	BSP_LOGI(TAG, "Updating BLE name to: %s", ble_name);
	int err = bt_set_name(ble_name);
	if (err != 0)
	{
		BSP_LOGE(TAG, "Failed to set name (err %d)", err);
		return;
	}
	adv_set_ble_name((const uint8_t *)ble_name, strlen(ble_name));

	err = bt_le_adv_update_data(ad, ARRAY_SIZE(ad), sd, ARRAY_SIZE(sd));
	if (err != 0)
	{
		LOG_ERR("Failed to update adv data (err %d)", err);
	}
}
void get_ble_mac_addr(uint8_t *mac_addr, uint8_t mac_addr_len)
{
	if ((mac_addr == NULL) || (mac_addr_len < BT_ADDR_LE_STR_LEN))
	{
		BSP_LOGE(TAG, "Invalid mac_addr provided err");
		return;
	}
	bt_addr_le_t addr;
	size_t count = 1;
	bt_id_get(&addr, &count);

	char addr_str[BT_ADDR_LE_STR_LEN];
	bt_addr_le_to_str(&addr, addr_str, sizeof(addr_str));
	// snprintf((char *)mac_addr, 17, "%s", addr_str); // CF:53:47:E4:94:88
	memcpy((uint8_t *)mac_addr, addr_str, 17);
	BSP_LOGI(TAG, "Bluetooth address:%s", addr_str);
}
static void adv_work_handler(struct k_work *work)
{
	int err;
	int retry;
	for (retry = 0; retry < 5; retry++) // 累计尝试5次
	{
		err = bt_le_adv_start(&g_adv_param, ad, ARRAY_SIZE(ad), sd, ARRAY_SIZE(sd));
		if (err == 0)
		{
			LOG_INF("Advertising successfully started (try %d)", retry + 1);
			return;
		}
		LOG_ERR("Advertising failed to start (err %d), try %d", err, retry + 1);
		// 如果不是第一次，尝试 stop 再 start
		if (retry > 0)
		{
			int stop_err = bt_le_adv_stop();
			if (stop_err != 0)
			{
				LOG_ERR("Advertising failed to stop (err %d)", stop_err);
			}
		}
		xyzn_os_delay_ms(20); // 短暂等待后再重试
	}
	LOG_ERR("Advertising failed to start after %d retries", retry);
}

void advertising_start(void)
{
	k_work_submit(&adv_work); // 向系统队列提交工作项目
}

static void recycled_cb(void)
{
	LOG_INF("Connection object available from previous conn. Disconnect is complete!");
	advertising_start();
}

#ifdef CONFIG_BT_NUS_SECURITY_ENABLED
static void security_changed(struct bt_conn *conn, bt_security_t level,
							 enum bt_security_err err)
{
	char addr[BT_ADDR_LE_STR_LEN];
	bt_addr_le_to_str(bt_conn_get_dst(conn), addr, sizeof(addr));

	if (!err)
	{
		LOG_INF("Security changed: %s level %u", addr, level);
	}
	else
	{
		LOG_WRN("Security failed: %s level %u err %d %s", addr, level, err,
				bt_security_err_to_str(err));
	}
}
#endif

#if defined(CONFIG_BT_NUS_SECURITY_ENABLED)
static void auth_passkey_display(struct bt_conn *conn, unsigned int passkey)
{
	char addr[BT_ADDR_LE_STR_LEN];

	bt_addr_le_to_str(bt_conn_get_dst(conn), addr, sizeof(addr));

	LOG_INF("Passkey for %s: %06u", addr, passkey);
}

static void auth_passkey_confirm(struct bt_conn *conn, unsigned int passkey)
{
	char addr[BT_ADDR_LE_STR_LEN];

	auth_conn = bt_conn_ref(conn);

	bt_addr_le_to_str(bt_conn_get_dst(conn), addr, sizeof(addr));

	LOG_INF("Passkey for %s: %06u", addr, passkey);

	if (IS_ENABLED(CONFIG_SOC_SERIES_NRF54HX) || IS_ENABLED(CONFIG_SOC_SERIES_NRF54LX))
	{
		LOG_INF("Press Button 0 to confirm, Button 1 to reject.");
	}
	else
	{
		LOG_INF("Press Button 1 to confirm, Button 2 to reject.");
	}
}

static void auth_cancel(struct bt_conn *conn)
{
	char addr[BT_ADDR_LE_STR_LEN];

	bt_addr_le_to_str(bt_conn_get_dst(conn), addr, sizeof(addr));

	LOG_INF("Pairing cancelled: %s", addr);
}

static void pairing_complete(struct bt_conn *conn, bool bonded)
{
	char addr[BT_ADDR_LE_STR_LEN];

	bt_addr_le_to_str(bt_conn_get_dst(conn), addr, sizeof(addr));

	LOG_INF("Pairing completed: %s, bonded: %d", addr, bonded);
}

static void pairing_failed(struct bt_conn *conn, enum bt_security_err reason)
{
	char addr[BT_ADDR_LE_STR_LEN];

	bt_addr_le_to_str(bt_conn_get_dst(conn), addr, sizeof(addr));

	LOG_INF("Pairing failed conn: %s, reason %d %s", addr, reason,
			bt_security_err_to_str(reason));
}

static struct bt_conn_auth_cb conn_auth_callbacks = {
	.passkey_display = auth_passkey_display,
	.passkey_confirm = auth_passkey_confirm,
	.cancel = auth_cancel,
};

static struct bt_conn_auth_info_cb conn_auth_info_callbacks = {
	.pairing_complete = pairing_complete,
	.pairing_failed = pairing_failed};
#else
static struct bt_conn_auth_cb conn_auth_callbacks;
static struct bt_conn_auth_info_cb conn_auth_info_callbacks;
#endif
static void bt_receive_cb(struct bt_conn *conn,
						  const uint8_t *const data,
						  uint16_t len)
{
	// char addr[BT_ADDR_LE_STR_LEN] = {0};
	// bt_addr_le_to_str(bt_conn_get_dst(conn), addr, ARRAY_SIZE(addr));
	// LOG_INF("Received data from: %s", addr);
	ble_receive_fragment(data, len);
}

static void update_data_length(struct bt_conn *conn)
{
	int err;
	struct bt_conn_le_data_len_param my_data_len =
		{
			.tx_max_len = BT_GAP_DATA_LEN_MAX,
			.tx_max_time = BT_GAP_DATA_TIME_MAX,
		};
	err = bt_conn_le_data_len_update(my_current_conn, &my_data_len);
	if (err)
	{
		LOG_ERR("data_len_update failed (err %d)", err);
	}
}

static void update_phy(struct bt_conn *conn)
{
	int err;
	const struct bt_conn_le_phy_param preferred_phy = {
		.options = BT_CONN_LE_PHY_OPT_NONE,
		.pref_rx_phy = BT_GAP_LE_PHY_2M,
		.pref_tx_phy = BT_GAP_LE_PHY_2M,
	};
	err = bt_conn_le_phy_update(conn, &preferred_phy);
	if (err)
	{
		LOG_ERR("bt_conn_le_phy_update() returned %d", err);
	}
}
void set_ble_connected_status(bool connected)
{
	ble_connected = connected;
}
/**
 * @retval 获取当前 BLE 连接状态
 * @return false 未连接，true 已连接
 */
bool get_ble_connected_status(void)
{
	return ble_connected;
}
static void my_connected(struct bt_conn *conn, uint8_t err)
{
	char addr[BT_ADDR_LE_STR_LEN];
	if (err)
	{
		LOG_ERR("Connection failed, err 0x%02x %s", err, bt_hci_err_to_str(err));
		return;
	}
	bt_addr_le_to_str(bt_conn_get_dst(conn), addr, sizeof(addr));
	LOG_INF("Connected: %s", addr);
	my_current_conn = bt_conn_ref(conn);
	set_ble_connected_status(true);
	/* Update the connection parameters */
	struct bt_conn_info info;
	err = bt_conn_get_info(conn, &info);
	if (err)
	{
		LOG_ERR("bt_conn_get_info() returned %d", err);
		return;
	}
	double connection_interval = info.le.interval * 1.25; // in ms
	uint16_t supervision_timeout = info.le.timeout * 10;  // in ms
	LOG_INF("my_connected -> Connection parameters: interval %.2f ms, latency %d intervals, timeout %d ms",
			connection_interval, info.le.latency, supervision_timeout);

	/* Update the PHY mode */
	// update_phy(my_current_conn);
	/* Update the data length and MTU */
	// update_data_length(my_current_conn);
	// update_mtu(my_current_conn);
}
static void my_disconnected(struct bt_conn *conn, uint8_t reason)
{
	char addr[BT_ADDR_LE_STR_LEN];
	bt_addr_le_to_str(bt_conn_get_dst(conn), addr, sizeof(addr));
	LOG_INF("Disconnected: %s, reason 0x%02x %s", addr, reason, bt_hci_err_to_str(reason));
	set_ble_connected_status(false);
	if (auth_conn)
	{
		bt_conn_unref(auth_conn);
		auth_conn = NULL;
	}
	if (my_current_conn)
	{
		bt_conn_unref(my_current_conn);
		my_current_conn = NULL;
	}
}
void on_le_param_updated(struct bt_conn *conn,
						 uint16_t interval,
						 uint16_t latency,
						 uint16_t timeout)
{
	double connection_interval = interval * 1.25; // in ms
	uint16_t supervision_timeout = timeout * 10;  // in ms
	LOG_INF("on_le_param_updated -> Connection parameters updated: interval %.2f ms, latency %d intervals, timeout %d ms",
			connection_interval, latency, supervision_timeout);
}
void on_le_phy_updated(struct bt_conn *conn, struct bt_conn_le_phy_info *param)
{
	if (param->tx_phy == BT_CONN_LE_TX_POWER_PHY_1M)
	{
		LOG_INF("PHY updated. New PHY: 1M");
	}
	else if (param->tx_phy == BT_CONN_LE_TX_POWER_PHY_2M)
	{
		LOG_INF("PHY updated. New PHY: 2M");
	}
	else if (param->tx_phy == BT_CONN_LE_TX_POWER_PHY_CODED_S8)
	{
		LOG_INF("PHY updated. New PHY: Long Range");
	}
}
void on_le_data_len_updated(struct bt_conn *conn, struct bt_conn_le_data_len_info *info)
{
	uint16_t tx_len = info->tx_max_len;
	uint16_t tx_time = info->tx_max_time;
	uint16_t rx_len = info->rx_max_len;
	uint16_t rx_time = info->rx_max_time;
	LOG_INF("Data length updated. Length %d/%d bytes, time %d/%d us", tx_len, rx_len, tx_time, rx_time);
}

BT_CONN_CB_DEFINE(conn_callbacks) = {
	.connected = my_connected,
	.disconnected = my_disconnected,
	.recycled = recycled_cb,
	.le_param_updated = on_le_param_updated,
	.le_phy_updated = on_le_phy_updated,
	.le_data_len_updated = on_le_data_len_updated,
#ifdef CONFIG_BT_NUS_SECURITY_ENABLED
	.security_changed = security_changed,
#endif
};
/**
 * @brief 获取当前MTU
 */
uint16_t get_ble_payload_mtu(void)
{
	return payload_mtu;
}
void mtu_updated(struct bt_conn *conn, uint16_t tx, uint16_t rx)
{
	payload_mtu = bt_gatt_get_mtu(conn) - 3; // 3 bytes used for Attribute headers.
	LOG_INF("Updated MTU: TX: %d RX: %d bytes", tx, rx);
	LOG_INF("Updated MTU: %d; Payload=[%d] ", payload_mtu + 3, payload_mtu);
}
static struct bt_gatt_cb gatt_callbacks = {
	.att_mtu_updated = mtu_updated};
/**
 * @brief 蓝牙广播间隔设置
 * @param time_ms
 */
void ble_interval_set(uint16_t min, uint16_t max)
{
	g_adv_param.options = BT_LE_ADV_OPT_CONN | BT_LE_ADV_OPT_USE_IDENTITY;
	g_adv_param.interval_min = BT_GAP_PER_ADV_MS_TO_INTERVAL(min);
	g_adv_param.interval_max = BT_GAP_PER_ADV_MS_TO_INTERVAL(max);
}

static struct custom_nus_cb my_nus_cb = {
	.received = bt_receive_cb,
	// .sent = bt_sent_cb,
	// .send_enabled = bt_notify_cb,
};

static void app_info(void)
{
	BSP_LOGI(TAG,
			 "\n\n-------------------------------------------\n|\n"
			 "|	[%s] \n|\n"
			 "|	Firm Version: %s\n"
			 "|	Build Time: %s %s\n"
			 "|	IDF Version: %s\n|\n"
			 "-------------------------------------------\n",
			 XYZN_PROJECT_NAME,
			 XYZN_FIRMWARE_VERSION,
			 XYZN_COMPILE_DATE, XYZN_COMPILE_TIME,
			 XYZN_SDK_VERSION);
}

static int hfclock_config_and_start(void)
{
	int ret;
	/* Use this to turn on 128 MHz clock for cpu_app */
	ret = nrfx_clock_divider_set(NRF_CLOCK_DOMAIN_HFCLK, NRF_CLOCK_HFCLK_DIV_1);
	ret -= NRFX_ERROR_BASE_NUM;
	if (ret)
	{
		return ret;
	}
	nrfx_clock_hfclk_start();
	while (!nrfx_clock_hfclk_is_running())
	{
	}
	return 0;
}
// 初始化高频时钟128Mhz运行模式
SYS_INIT(hfclock_config_and_start, POST_KERNEL, 0);

int main(void)
{
	int err = 0;
	app_info();
	g_adv_param = *(BT_LE_ADV_CONN_FAST_2);
	ble_interval_set(100, 100); // 设置广播间隔
	if (IS_ENABLED(CONFIG_BT_NUS_SECURITY_ENABLED))
	{
		err = bt_conn_auth_cb_register(&conn_auth_callbacks);
		if (err)
		{
			LOG_ERR("Failed to register authorization callbacks. (err: %d)", err);
			return 0;
		}

		err = bt_conn_auth_info_cb_register(&conn_auth_info_callbacks);
		if (err)
		{
			LOG_ERR("Failed to register authorization info callbacks. (err: %d)", err);
			return 0;
		}
	}

	err = bt_enable(NULL);
	if (err)
	{
		LOG_INF("Bluetooth not enabled (err: %d)", err);
	}
	LOG_INF("Bluetooth initialized 001");
	ble_init_sem_give();
	if (IS_ENABLED(CONFIG_SETTINGS))
	{
		settings_load();
	}
	err = custom_nus_init(&my_nus_cb);
	if (err)
	{
		LOG_ERR("Failed to bt_nus_init service (err: %d)", err);
		return 0;
	}
	k_work_init(&adv_work, adv_work_handler);
	advertising_start();

	bt_gatt_cb_register(&gatt_callbacks);

	xyzn_os_delay_ms(1000);
	image_cache_init();
	bsp_board_mcu_init();

	lvgl_dispaly_thread();
	ble_protocol_receive_thread();
	ble_protocol_send_thread();
	protocol_ble_process_thread();

	task_process_thread();
	task_interrupt_thread();
	task_lc3_codec_thread();

	uint8_t mac[BT_ADDR_LE_STR_LEN] = {0};
	get_ble_mac_addr(mac, sizeof(mac));
	ble_name_update_data(mac);
	int count = 0;
	static int clk_128_flag = 0;

	for (;;)
	{
		BSP_LOGI(TAG, "Starting main thread %d", count++);
		primary_feed_worker();
		xyzn_os_delay_ms(10000);
		if (clk_128_flag == 0)
		{
			uint32_t clk = NRF_CLOCK->HFCLKCTRL;
			if ((clk & 0x1) == 0)
			{
				clk_128_flag = 1;
				LOG_INF("HFCLKCTRL: 128 MHz");
			}
			else
			{
				LOG_INF("HFCLKCTRL: 64 MHz");
			}
		}
	}
}
```

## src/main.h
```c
/*** 
 * @Author       : XK
 * @Date         : 2025-06-18 17:06:12
 * @LastEditTime : 2025-06-18 17:06:15
 * @FilePath     : main.h
 * @Description  : 
 * @
 * @Copyright (c) XingYiZhiNeng 2025 , All Rights Reserved. 
 */


 #ifndef __MAIN_H   
 #define __MAIN_H
#include <stdint.h>

int ble_init_sem_take(void);

void advertising_start(void);

bool get_ble_connected_status(void);

uint16_t get_ble_payload_mtu(void);

void ble_interval_set(uint16_t min, uint16_t max);

void ble_name_update_data(const char *name);
#endif // __MAIN_H
```

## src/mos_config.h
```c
/***
 * @Author       : Cole
 * @Date         : 2025-07-31 10:40:40
 * @LastEditTime : 2025-07-31 15:51:35
 * @FilePath     : mos_config.h
 * @Description  : congig file for MentraOS NRF5340
 * @
 * @ Copyright (c) MentraOS Contributors 2025
 * @ SPDX-License-Identifier: Apache-2.0
 */

#ifndef _MOS_CONFIG_H_
#define _MOS_CONFIG_H_

/*-------------------------------------------------------------------------------------------------------------*/
#define MOS_PROJECT_NAME "MentraOS_NRF5340"
#define MOS_HARDWARE_VERSION "V_001"
/*
 *   第一个版本号：大版本（正式发布）
 *   第二个版本号：小版本（修复大版本的bug）
 *   第三个版本号：每次修改后，提交代码，这里都需要+1（研发调试使用）
 *   注意：每次对外发布版本后，第三个版本号需要置0
 *
 *First version number: large version (officially released)
 *The second version number: small version (fix large version bugs)
 *The third version number: After each modification, submit the code, +1 is required here (for R&D and debugging)
 *Note: After each release of the version, the third version number needs to be set to 0.
 */
#define MOS_FIRMWARE_VERSION "MentraOS-NRF5340-V1_0_0"

// #define MOS_FIRMWARE_BUILD   "1"//每次修改提交代码，这里都需要+1; set to 0 after each release
#define MOS_COMPILE_DATE __DATE__
#define MOS_COMPILE_TIME __TIME__
#define MOS_SDK_VERSION "NCS 3.0.0"

#endif /* _MOS_CONFIG_H_ */
```

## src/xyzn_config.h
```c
/***
 * @Author       : XK
 * @Date         : 2025-05-10 14:20:34
 * @LastEditTime : 2025-07-10 09:51:59
 * @FilePath     : xyzn_config.h
 * @Description  :
 * @
 * @Copyright (c) XingYiZhiNeng 2025 , All Rights Reserved.
 */

#ifndef _XYZN_CONGFIG_H
#define _XYZN_CONFIG_H

/*-------------------------------------------------------------------------------------------------------------*/
#define XYZN_PROJECT_NAME       "K901_NRF5340"
#define XYZN_HARDWARE_VERSION   "V_001"
/*
 *   第一个版本号：大版本（正式发布）
 *   第二个版本号：小版本（修复大版本的bug）
 *   第三个版本号：每次修改后，提交代码，这里都需要+1（研发调试使用）
 *   注意：每次对外发布版本后，第三个版本号需要置0
 */
#define XYZN_FIRMWARE_VERSION "K901_NRF5340-V0_0_2-2500710"

// #define XYZN_FIRMWARE_BUILD   "1"//每次修改提交代码，这里都需要+1
#define XYZN_COMPILE_DATE   __DATE__
#define XYZN_COMPILE_TIME   __TIME__
#define XYZN_SDK_VERSION    "NCS 3.0.0"




#endif /* _XYZN_CONGFIG_H */
```
